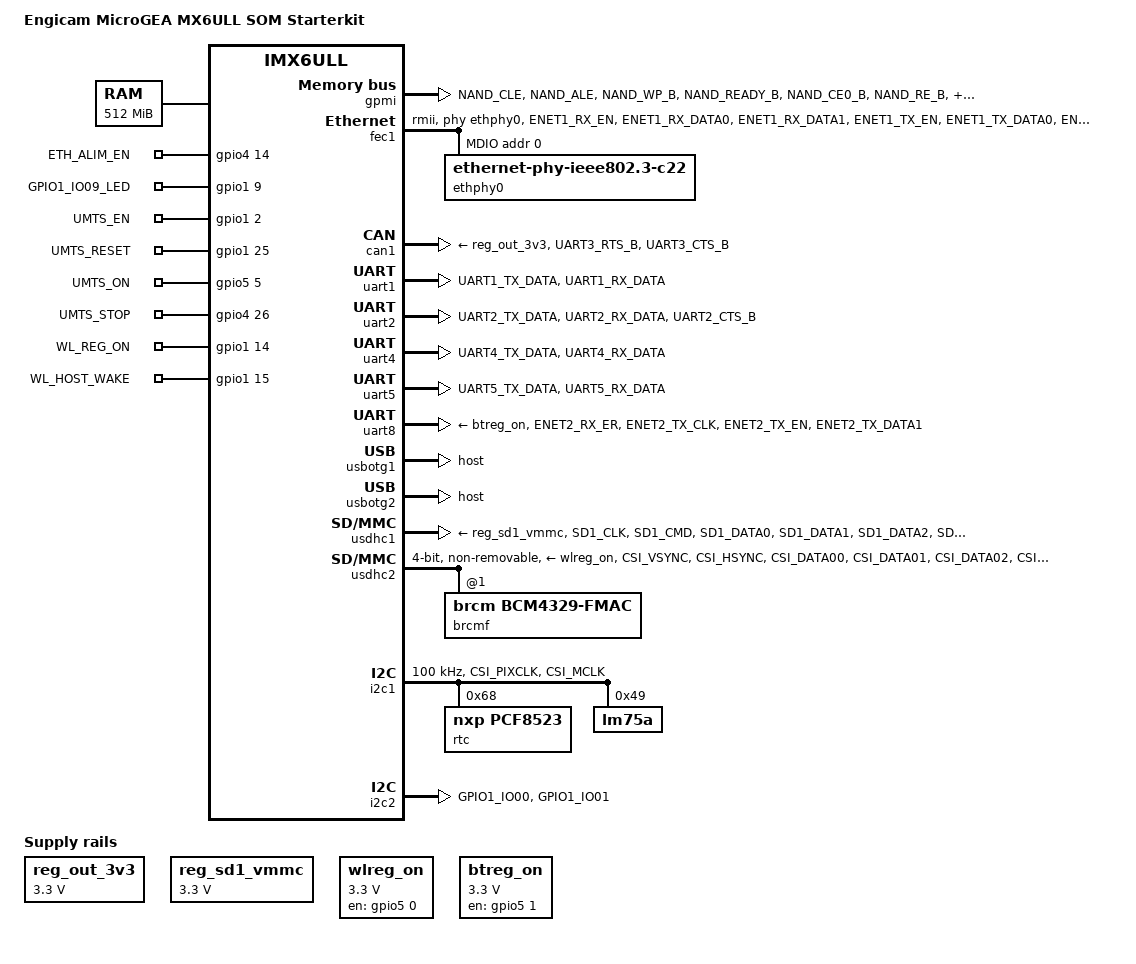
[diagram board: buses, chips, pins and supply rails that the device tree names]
/*
 * Copyright (C) 2016 Freescale Semiconductor, Inc.
 * Copyright 2017 NXP
 *
 * This program is free software; you can redistribute it and/or modify
 * it under the terms of the GNU General Public License version 2 as
 * published by the Free Software Foundation.
 */

/dts-v1/;

#include <dt-bindings/input/input.h>
#include "imx6ull.dtsi"

/ {
	model = "Engicam MicroGEA MX6ULL SOM Starterkit";
	compatible = "fsl,imx6ull";

	chosen {
		stdout-path = &uart1;
	};

	memory {
		reg = <0x80000000 0x20000000>;
	};

	reserved-memory {
		#address-cells = <1>;
		#size-cells = <1>;
		ranges;

		linux,cma {
			compatible = "shared-dma-pool";
			reusable;
			size = <0x4000000>;
			linux,cma-default;
		};
	};

	regulators {
		compatible = "simple-bus";
		#address-cells = <1>;
		#size-cells = <0>;

		reg_out_3v3: regulator@0 {
			compatible = "regulator-fixed";
			reg = <0>;
			regulator-name = "out-3v3";
			regulator-min-microvolt = <3300000>;
			regulator-max-microvolt = <3300000>;
		};

		reg_sd1_vmmc: regulator@1 {
			compatible = "regulator-fixed";
			regulator-name = "SD1_MMC";
			regulator-min-microvolt = <3300000>;
			regulator-max-microvolt = <3300000>;
		};

		wlreg_on: fixedregulator@100 {
			compatible = "regulator-fixed";
			regulator-name = "wlreg_on";
			gpio = <&gpio5 0 0>;
			startup-delay-us = <100>;
			enable-active-high;
			regulator-min-microvolt = <3300000>;
			regulator-max-microvolt = <3300000>;
			regulator-always-on;
		};

		btreg_on: fixedregulator@200 {
			compatible = "regulator-fixed";
			regulator-name = "btreg_on";
			gpio = <&gpio5 1 0>;
			startup-delay-us = <100>;
			enable-active-high;
			regulator-min-microvolt = <3300000>;
			regulator-max-microvolt = <3300000>;
			regulator-always-on;
		};
	};

	gpio_export {
		compatible = "gpio-export";
		#size-cells = <0>;

		ETH_ALIM_EN {
			gpio-export,name = "ETH_ALIM_EN";
			gpio-export,output = <1>;
			gpios = <&gpio4 14 0>;
		};

		GPIO1_IO09_LED {
			gpio-export,name = "GPIO1_IO09_LED";
			gpio-export,output = <1>;
			gpios = <&gpio1 9 0>;
		};

		UMTS_EN {
			gpio-export,name = "UMTS_EN";
			gpio-export,output = <1>;
			gpios = <&gpio1 2 0>;
		};

		UMTS_RESET {
			gpio-export,name = "UMTS_RESET";
			gpio-export,output = <1>;
			gpios = <&gpio1 25 0>;
		};

		UMTS_ON {
			gpio-export,name = "UMTS_ON";
			gpio-export,output = <0>;
			gpios = <&gpio5 5 0>;
		};

		UMTS_STOP {
			gpio-export,name = "UMTS_STOP";
			gpio-export,output = <0>;
			gpios = <&gpio4 26 0>;
		};

		WL_REG_ON {
			gpio-export,name = "WL_REG_ON";
			gpio-export,output = <1>;
			gpios = <&gpio1 14 0>;
		};

		WL_HOST_WAKE {
			gpio-export,name = "WL_HOST_WAKE";
			gpio-export,output = <0>;
			wakeup_source;
			gpios = <&gpio1 15 0>;
		};
	};
};

&gpmi {
	pinctrl-names = "default";
	pinctrl-0 = <&pinctrl_gpmi_nand_1>;
	status = "okay";
	nand-on-flash-bbt;
	fsl,use-minimum-ecc;
};

&cpu0 {
	/*
	 * on i.MX6ULL, no separated VDD_ARM_IN and VDD_SOC_IN,
	 * to align with other platform and use the same cpufreq
	 * driver, still use the separated OPP define for arm
	 * and soc.
	 */
	operating-points = <
		/* kHz	uV */
		792000  1225000
		396000	1175000
		198000	1175000
	>;
	fsl,soc-operating-points = <
		/* KHz	uV */
		792000  1225000
		396000	1175000
		198000	1175000
	>;
	fsl,arm-soc-shared = <1>;
};

&fec1 {
	pinctrl-names = "default";
	pinctrl-0 = <&pinctrl_enet1>;
	phy-mode = "rmii";
	phy-handle = <&ethphy0>;
	status = "okay";

	mdio {
		#address-cells = <1>;
		#size-cells = <0>;

		ethphy0: ethernet-phy@0 {
			compatible = "ethernet-phy-ieee802.3-c22";
			reg = <0>;
		};
	};

};

&can1 {
	pinctrl-names = "default";
	pinctrl-0 = <&pinctrl_flexcan1>;
	xceiver-supply = <&reg_out_3v3>;
	status = "okay";
};

&gpc {
	fsl,cpu_pupscr_sw2iso = <0xf>;
	fsl,cpu_pupscr_sw = <0x0>;
	fsl,cpu_pdnscr_iso2sw = <0x1>;
	fsl,cpu_pdnscr_iso = <0x1>;
	fsl,ldo-bypass = <1>;
};

&iomuxc {
	pinctrl-names = "default";
	pinctrl-0 = <&pinctrl_hog_1>;
	imx6ul-evk {

		pinctrl_hog_1: hoggrp-1 {
			fsl,pins = <
				MX6UL_PAD_GPIO1_IO03__OSC32K_32K_OUT  	0x1b090
				MX6UL_PAD_SNVS_TAMPER0__GPIO5_IO00   	0x1b0b0 /* WL_REF_ON */
				MX6UL_PAD_SNVS_TAMPER1__GPIO5_IO01   	0x1b0b0 /* BT_REF_ON */
				MX6UL_PAD_NAND_CE1_B__GPIO4_IO14   	0x1b0b0 /* ETH_ALIM_EN */
				MX6UL_PAD_GPIO1_IO09__GPIO1_IO09   	0x1b0b0 /*GPIO1_IO09_LED*/
				MX6UL_PAD_GPIO1_IO02__GPIO1_IO02	0x1b0b0 /*UMTS_EN*/
				MX6UL_PAD_UART3_RX_DATA__GPIO1_IO25	0x1b0b0 /*UMTS_RESET*/
				MX6UL_PAD_SNVS_TAMPER5__GPIO5_IO05	0x1b0b0 /*UMTS_ON*/
				MX6UL_PAD_CSI_DATA05__GPIO4_IO26	0x1b0b0 /*UMTS_STOP*/
				MX6UL_PAD_JTAG_TCK__GPIO1_IO14	0x130b0 /*WL_REG_ON*/
				MX6UL_PAD_JTAG_TRST_B__GPIO1_IO15	0x120b0 /*WL_HOST_WAKE*/

			>;
		};

		pinctrl_enet1: enet1grp {
			fsl,pins = <
				MX6UL_PAD_ENET1_RX_EN__ENET1_RX_EN	0x1b0b0
				MX6UL_PAD_ENET1_RX_DATA0__ENET1_RDATA00	0x1b0b0
				MX6UL_PAD_ENET1_RX_DATA1__ENET1_RDATA01	0x1b0b0
				MX6UL_PAD_ENET1_TX_EN__ENET1_TX_EN	0x1b0b0
				MX6UL_PAD_ENET1_TX_DATA0__ENET1_TDATA00	0x1b0b0
				MX6UL_PAD_ENET1_TX_DATA1__ENET1_TDATA01	0x1b0b0
				MX6UL_PAD_ENET1_TX_CLK__ENET1_REF_CLK1	0x4001b031
				MX6UL_PAD_GPIO1_IO07__ENET1_MDC		0x1b0b0
				MX6UL_PAD_GPIO1_IO06__ENET1_MDIO	0x1b0b0
			>;
		};

		pinctrl_flexcan1: flexcan1grp{
			fsl,pins = <
				MX6UL_PAD_UART3_RTS_B__FLEXCAN1_RX	0x1b020
				MX6UL_PAD_UART3_CTS_B__FLEXCAN1_TX	0x1b020
			>;
		};


		pinctrl_flexcan2: flexcan2grp{
			fsl,pins = <
				MX6UL_PAD_UART2_RTS_B__FLEXCAN2_RX	0x1b020
				MX6UL_PAD_UART2_CTS_B__FLEXCAN2_TX	0x1b020
			>;
		};


		pinctrl_gpmi_nand_1: gpmi-nand-1 {
			fsl,pins = <
				MX6UL_PAD_NAND_CLE__RAWNAND_CLE         0xb0b1
				MX6UL_PAD_NAND_ALE__RAWNAND_ALE         0xb0b1
				MX6UL_PAD_NAND_WP_B__RAWNAND_WP_B       0xb0b1
				MX6UL_PAD_NAND_READY_B__RAWNAND_READY_B 0xb000
				MX6UL_PAD_NAND_CE0_B__RAWNAND_CE0_B     0xb0b1
				MX6UL_PAD_NAND_RE_B__RAWNAND_RE_B       0xb0b1
				MX6UL_PAD_NAND_WE_B__RAWNAND_WE_B       0xb0b1
				MX6UL_PAD_NAND_DATA00__RAWNAND_DATA00   0xb0b1
				MX6UL_PAD_NAND_DATA01__RAWNAND_DATA01   0xb0b1
				MX6UL_PAD_NAND_DATA02__RAWNAND_DATA02   0xb0b1
				MX6UL_PAD_NAND_DATA03__RAWNAND_DATA03   0xb0b1
				MX6UL_PAD_NAND_DATA04__RAWNAND_DATA04   0xb0b1
				MX6UL_PAD_NAND_DATA05__RAWNAND_DATA05   0xb0b1
				MX6UL_PAD_NAND_DATA06__RAWNAND_DATA06   0xb0b1
				MX6UL_PAD_NAND_DATA07__RAWNAND_DATA07   0xb0b1
			>;
		};

		pinctrl_uart1: uart1grp {
			fsl,pins = <
				MX6UL_PAD_UART1_TX_DATA__UART1_DCE_TX 0x1b0b1
				MX6UL_PAD_UART1_RX_DATA__UART1_DCE_RX 0x1b0b1
			>;
		};

		pinctrl_uart2: uart2grp {
			fsl,pins = <
				MX6UL_PAD_UART2_TX_DATA__UART2_DCE_TX	0x1b0b1
				MX6UL_PAD_UART2_RX_DATA__UART2_DCE_RX	0x1b0b1
				MX6UL_PAD_UART2_CTS_B__UART2_DCE_CTS	0x1b0b1
			>;
		};

		pinctrl_uart4: uart4grp {
			fsl,pins = <
				MX6UL_PAD_UART4_TX_DATA__UART4_DCE_TX 0x1b0b1
				MX6UL_PAD_UART4_RX_DATA__UART4_DCE_RX 0x1b0b1
			>;
		};

		pinctrl_uart5: uart5grp {
			fsl,pins = <
				MX6UL_PAD_UART5_TX_DATA__UART5_DCE_TX 0x1b0b1
				MX6UL_PAD_UART5_RX_DATA__UART5_DCE_RX 0x1b0b1
			>;
		};

		pinctrl_uart8: uart8grp {
				fsl,pins = <
				MX6UL_PAD_ENET2_RX_ER__UART8_DCE_RTS	0x1b0b1
				MX6UL_PAD_ENET2_TX_CLK__UART8_DCE_CTS	0x1b0b1
				MX6UL_PAD_ENET2_TX_EN__UART8_DCE_RX	0x1b0b1
				MX6UL_PAD_ENET2_TX_DATA1__UART8_DCE_TX	0x1b0b1
			>;
		};

		pinctrl_uart2dte: uart2dtegrp {
			fsl,pins = <
				MX6UL_PAD_UART2_TX_DATA__UART2_DTE_RX	0x1b0b1
				MX6UL_PAD_UART2_RX_DATA__UART2_DTE_TX	0x1b0b1
				MX6UL_PAD_UART3_RX_DATA__UART2_DTE_CTS	0x1b0b1
				MX6UL_PAD_UART3_TX_DATA__UART2_DTE_RTS	0x1b0b1
			>;
		};

		pinctrl_usdhc1: usdhc1grp {
			fsl,pins = <
				MX6UL_PAD_SD1_CLK__USDHC1_CLK     0x10059
				MX6UL_PAD_SD1_CMD__USDHC1_CMD     0x17059
				MX6UL_PAD_SD1_DATA0__USDHC1_DATA0 0x17059
				MX6UL_PAD_SD1_DATA1__USDHC1_DATA1 0x17059
				MX6UL_PAD_SD1_DATA2__USDHC1_DATA2 0x17059
				MX6UL_PAD_SD1_DATA3__USDHC1_DATA3 0x17059
				MX6UL_PAD_UART1_RTS_B__GPIO1_IO19 0x17059

			>;
		};

		pinctrl_usdhc2: usdhc2grp {
			fsl,pins = <
				MX6UL_PAD_CSI_VSYNC__USDHC2_CLK     0x10051
				MX6UL_PAD_CSI_HSYNC__USDHC2_CMD     0x17058
				MX6UL_PAD_CSI_DATA00__USDHC2_DATA0  0x17058
				MX6UL_PAD_CSI_DATA01__USDHC2_DATA1  0x17058
				MX6UL_PAD_CSI_DATA02__USDHC2_DATA2  0x17058
				MX6UL_PAD_CSI_DATA03__USDHC2_DATA3  0x17058
			>;
		};


		pinctrl_i2c1: i2c1grp {
			fsl,pins = <
				MX6UL_PAD_CSI_PIXCLK__I2C1_SCL 0x4001b8b0
				MX6UL_PAD_CSI_MCLK__I2C1_SDA 0x4001b8b0
			>;
		};

		pinctrl_i2c2: i2c2grp {
			fsl,pins = <
				MX6UL_PAD_GPIO1_IO00__I2C2_SCL 0x4001b8b0
				MX6UL_PAD_GPIO1_IO01__I2C2_SDA 0x4001b8b0
			>;
		};

		pinctrl_ecspi: ecspigrp {
			fsl,pins = <
				MX6UL_PAD_CSI_DATA04__ECSPI1_SCLK      	0x70a1
				MX6UL_PAD_CSI_DATA05__ECSPI1_SS0 	0x70a1
				MX6UL_PAD_CSI_DATA06__ECSPI1_MOSI   	0x70a1
				MX6UL_PAD_CSI_DATA07__ECSPI1_MISO   	0x70a1
			>;
		};

		/*pinctrl_sai2: sai2grp {
			fsl,pins = <
				MX6UL_PAD_JTAG_TCK__SAI2_RX_DATA	0x130b0
				MX6UL_PAD_JTAG_TMS__CCM_CLKO1		0x4001b031
				MX6UL_PAD_JTAG_TDI__SAI2_TX_BCLK	0x17088
				MX6UL_PAD_JTAG_TDO__SAI2_TX_SYNC	0x17088
				MX6UL_PAD_JTAG_TRST_B__SAI2_TX_DATA	0x120b0
			>;
		};*/

	};
};

/* CONSOLE LINUX */
&uart1 {
	pinctrl-names = "default";
	pinctrl-0 = <&pinctrl_uart1>;
	status = "okay";
};

/* RS485 */
&uart2 {
	pinctrl-names = "default";
	pinctrl-0 = <&pinctrl_uart2>;
	fsl,uart-has-rtscts;
	status = "okay";
};

/* SER1_EXT */
&uart4 {
	pinctrl-names = "default";
	pinctrl-0 = <&pinctrl_uart4>;
	status = "okay";
};

/* RS232 */
&uart5 {
	pinctrl-names = "default";
	pinctrl-0 = <&pinctrl_uart5>;
	status = "okay";
};

/* BT */
&uart8 {
	pinctrl-names = "default";
	pinctrl-0 = <&pinctrl_uart8>;
	vmmc-supply = <&btreg_on>;
	fsl,uart-has-rtscts;
	status = "okay";
};

/* USB_EXT */
&usbotg1 {
	dr_mode = "host";
	disable-over-current;
	status = "okay";
};

/* USB */
&usbotg2 {
	dr_mode = "host";
	disable-over-current;
	status = "okay";
};

/* SDCARD */
&usdhc1 {
	pinctrl-names = "default";
	pinctrl-0 = <&pinctrl_usdhc1>;
	no-1-8-v;
	cd-gpios = <&gpio1 19 GPIO_ACTIVE_LOW>;
	broken-cd;
	vmmc-supply = <&reg_sd1_vmmc>;
	enable-sdio-wakeup;
	keep-power-in-suspend;
	status = "okay";
};

/* WIFI */
&usdhc2 {
	#address-cells = <1>;
	#size-cells = <0>;
	pinctrl-names = "default";
	pinctrl-0 = <&pinctrl_usdhc2>;
	bus-width = <4>;
	no-1-8-v;
	pm-ignore-notify;
	keep-power-in-suspend;
	vmmc-supply = <&wlreg_on>;
	non-removable;
	status = "okay";

	brcmf: bcrmf@1 {
		reg = <1>;
		compatible = "brcm,bcm4329-fmac";
	};
};

&wdog1 {
	fsl,wdog_b;
};

&i2c1 {
	clock-frequency = <100000>;
	pinctrl-names = "default";
	pinctrl-0 = <&pinctrl_i2c1>;
	status = "okay";

	rtc: pcf8523@68 {
		compatible = "nxp,pcf8523";
		reg = <0x68>;
	};

	lm75a@49 {
		compatible = "lm75a";
		reg = <0x49>;
	};

};

&i2c2 {
	clock_frequency = <100000>;
	pinctrl-names = "default";
	pinctrl-0 = <&pinctrl_i2c2>;
	status = "okay";
};
